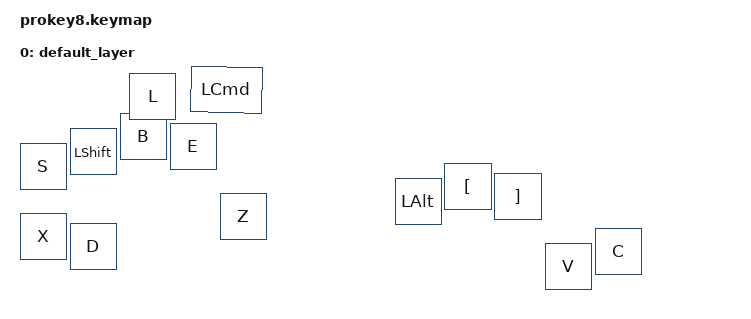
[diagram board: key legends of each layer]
/*
 * Copyright (c) 2021 Nick Winans
 *
 * SPDX-License-Identifier: MIT
 */

#include <behaviors.dtsi>
#include <dt-bindings/zmk/keys.h>
#include <dt-bindings/zmk/rgb.h>
#include <dt-bindings/zmk/bt.h>

/ {
    keymap {
        compatible = "zmk,keymap";

        default_layer {
// ---------------------------
// |  S  | SHIFT |  B  |  E  |
// |  Z  |  OPT  |  [  |  ]  |
// |  V  |   C   |  X  |  D  |
// |     |       |  L  | CMD |
// ---------------------------
            bindings = <
    &kp S  &kp LSHFT &kp B     &kp E
    &kp Z  &kp LALT  &kp LBKT  &kp RBKT
    &kp V  &kp C     &kp X     &kp D
                     &kp L     &kp LCMD
            >;
        };
    };
};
